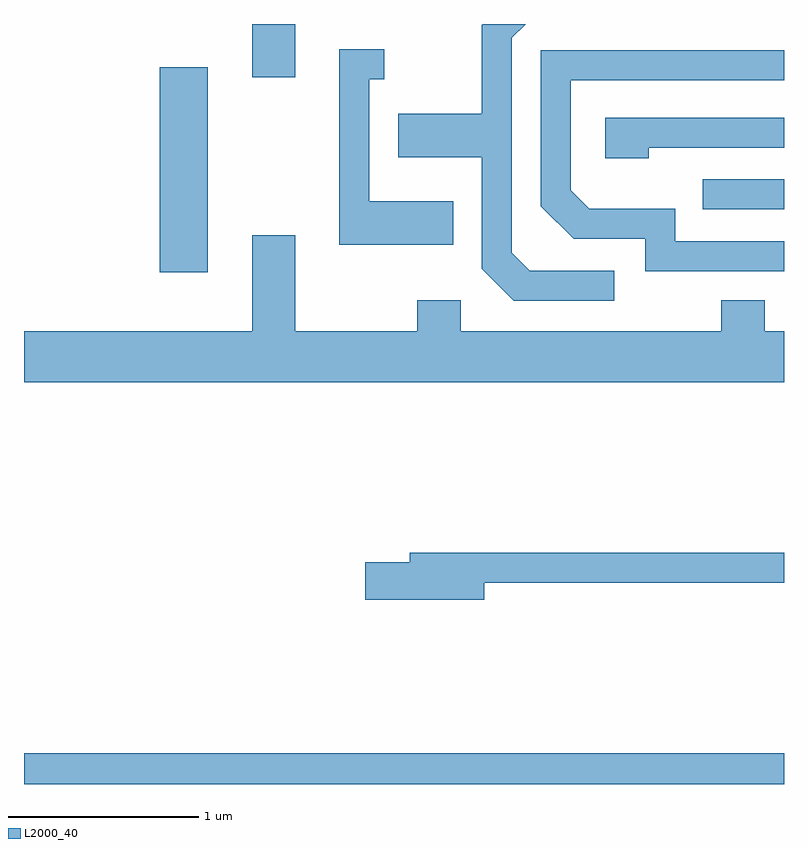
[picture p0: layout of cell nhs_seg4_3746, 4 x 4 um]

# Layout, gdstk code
import gdstk
lib = gdstk.Library(unit=1e-6, precision=1e-09)
def R(c, l, rs):  # rectangles x0, y0, x1, y1
    for r in rs: c.add(gdstk.rectangle(r[:2], r[2:], *l))
def P(c, l, *ps):  # polygons
    for p in ps: c.add(gdstk.Polygon(p, *l))
L2000_40 = (2000, 40)

nhs_seg4_3746 = lib.new_cell('nhs_seg4_3746')
R(nhs_seg4_3746, L2000_40, [(295.611,1265.982,299.611,1266.144), (296.326,1268.676,296.579,1269.754), (299.183,1269.006,299.611,1269.164), (296.811,1269.701,297.039,1269.982)])
P(nhs_seg4_3746, L2000_40, [(298.718,1268.684),(298.272,1268.684),(298.179,1268.777),(298.179,1269.909),(298.253,1269.982),(298.026,1269.982),(298.021,1269.977),(298.021,1269.509),(297.581,1269.509),(297.581,1269.281),(298.021,1269.281),(298.021,1268.694),(298.189,1268.526),(298.718,1268.526)],
  [(297.869,1269.049),(297.429,1269.049),(297.429,1269.691),(297.508,1269.691),(297.508,1269.849),(297.271,1269.849),(297.271,1268.821),(297.869,1268.821)],
  [(299.611,1268.839),(299.039,1268.839),(299.039,1269.009),(298.587,1269.009),(298.489,1269.107),(298.489,1269.686),(299.611,1269.686),(299.611,1269.844),(298.331,1269.844),(298.331,1269.024),(298.504,1268.851),(298.881,1268.851),(298.881,1268.681),(299.611,1268.681)],
  [(298.899,1269.331),(299.611,1269.331),(299.611,1269.489),(298.671,1269.489),(298.671,1269.276),(298.899,1269.276)],
  [(299.611,1268.364),(299.509,1268.364),(299.509,1268.529),(299.281,1268.529),(299.281,1268.364),(297.909,1268.364),(297.909,1268.529),(297.681,1268.529),(297.681,1268.364),(297.039,1268.364),(297.039,1268.869),(296.811,1268.869),(296.811,1268.364),(295.611,1268.364),(295.611,1268.096),(299.611,1268.096)],
  [(298.034,1267.041),(299.611,1267.041),(299.611,1267.199),(297.641,1267.199),(297.641,1267.149),(297.406,1267.149),(297.406,1266.951),(298.034,1266.951)])

lib.write_gds('nhs_seg4_3746.gds')
